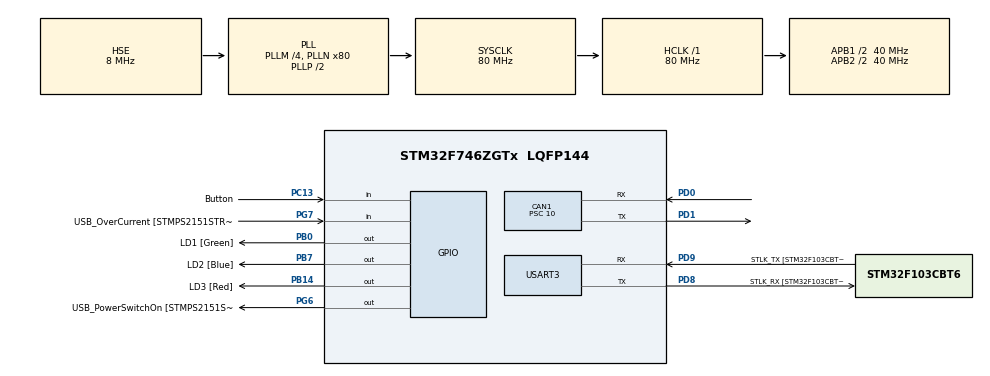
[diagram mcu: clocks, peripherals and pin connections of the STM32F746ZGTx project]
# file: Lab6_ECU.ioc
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CAN1.BS1=CAN_BS1_3TQ
CAN1.BS2=CAN_BS2_4TQ
CAN1.CalculateBaudRate=500000
CAN1.CalculateTimeBit=2000
CAN1.CalculateTimeQuantum=250.0
CAN1.Prescaler=10
CAN1.SJW=CAN_SJW_2TQ
Mcu.Family=STM32F7
Mcu.Name=STM32F746ZGTx
Mcu.Package=LQFP144
NVIC.CAN1_RX0_IRQn=true\:0\:0\:false\:false\:true\:true\:true\:true
NVIC.PriorityGroup=NVIC_PRIORITYGROUP_4
NVIC.TIM2_IRQn=true\:0\:0\:false\:false\:true\:true\:true\:true
PA13.GPIO_Label=TMS
PA13.Mode=Serial_Wire
PA13.Signal=SYS_JTMS-SWDIO
PA14.GPIO_Label=TCK
PA14.Mode=Serial_Wire
PA14.Signal=SYS_JTCK-SWCLK
PB0.GPIO_Label=LD1 [Green]
PB0.Signal=GPIO_Output
PB14.GPIO_Label=LD3 [Red]
PB14.Signal=GPIO_Output
PB3.GPIO_Label=SW0
PB3.Signal=SYS_JTDO-SWO
PB7.GPIO_Label=LD2 [Blue]
PB7.Signal=GPIO_Output
PC13.GPIO_Label=Button
PC13.GPIO_PuPd=GPIO_NOPULL
PC13.Signal=GPIO_Input
PC14/OSC32_IN.Mode=LSE-External-Oscillator
PC14/OSC32_IN.Signal=RCC_OSC32_IN
PC15/OSC32_OUT.Mode=LSE-External-Oscillator
PC15/OSC32_OUT.Signal=RCC_OSC32_OUT
PD0.Mode=CAN_Activate
PD0.Signal=CAN1_RX
PD1.Mode=CAN_Activate
PD1.Signal=CAN1_TX
PD8.GPIO_Label=STLK_RX [STM32F103CBT6_PA3]
PD8.GPIO_PuPd=GPIO_PULLUP
PD8.Mode=Asynchronous
PD8.Signal=USART3_TX
PD9.GPIO_Label=STLK_TX [STM32F103CBT6_PA2]
PD9.GPIO_PuPd=GPIO_PULLUP
PD9.Mode=Asynchronous
PD9.Signal=USART3_RX
PG6.GPIO_Label=USB_PowerSwitchOn [STMPS2151STR_EN]
PG6.Signal=GPIO_Output
PG7.GPIO_Label=USB_OverCurrent [STMPS2151STR_FAULT]
PG7.Signal=GPIO_Input
PH0/OSC_IN.GPIO_Label=MCO [STM32F103CBT6_PA8]
PH0/OSC_IN.Mode=HSE-External-Clock-Source
PH0/OSC_IN.Signal=RCC_OSC_IN
PH1/OSC_OUT.Mode=HSE-External-Clock-Source
PH1/OSC_OUT.Signal=RCC_OSC_OUT
ProjectManager.HeapSize=0x200
ProjectManager.StackSize=0x400
ProjectManager.TargetToolchain=STM32CubeIDE
RCC.48MHZClocksFreq_Value=24000000
RCC.AHBFreq_Value=80000000
RCC.APB1CLKDivider=RCC_HCLK_DIV2
RCC.APB1Freq_Value=40000000
RCC.APB1TimFreq_Value=80000000
RCC.APB2CLKDivider=RCC_HCLK_DIV2
RCC.APB2Freq_Value=40000000
RCC.APB2TimFreq_Value=80000000
RCC.CortexFreq_Value=80000000
RCC.HCLKFreq_Value=80000000
RCC.HSE_VALUE=8000000
RCC.HSI_VALUE=16000000
RCC.PLLM=4
RCC.PLLMUL=RCC_PLL_MUL9
RCC.PLLN=80
RCC.PLLQ=4
RCC.PLLSourceVirtual=RCC_PLLSOURCE_HSE
RCC.PRESCALERUSB=RCC_USBCLKSOURCE_PLL_DIV1_5
RCC.SYSCLKFreq_VALUE=80000000
RCC.SYSCLKSource=RCC_SYSCLKSOURCE_PLLCLK
RCC.SYSCLKSourceVirtual=RCC_SYSCLKSOURCE_PLLCLK
RCC.USBFreq_Value=40000000
RCC.VCOOutputFreq_Value=160000000
TIM2.Period=49999
TIM2.Prescaler=8000
USART3.VirtualMode-Asynchronous=VM_ASYNC
VP_RNG_VS_RNG.Mode=RNG_Activate
VP_TIM2_VS_ClockSourceINT.Mode=Internal
board=NUCLEO-F746ZG

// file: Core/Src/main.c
/* USER CODE BEGIN Header */
/**
 ******************************************************************************
 * @file           : main.c
 * @brief          : Main program body
 ******************************************************************************
 * @attention
 *
 * Copyright (c) 2022 STMicroelectronics.
 * All rights reserved.
 *
 * This software is licensed under terms that can be found in the LICENSE file
 * in the root directory of this software component.
 * If no LICENSE file comes with this software, it is provided AS-IS.
 *
 ******************************************************************************
 */
/* USER CODE END Header */
#include "main.h"

/* USER CODE BEGIN Includes */
#include "stdbool.h"
#include "stdio.h"
/* USER CODE END Includes */

/* USER CODE BEGIN PD */
#ifdef __GNUC__
/* With GCC/RAISONANCE, small printf (option LD Linker->Libraries->Small printf
 set to 'Yes') calls __io_putchar() */
#define PUTCHAR_PROTOTYPE int __io_putchar(int ch)
#else
#define PUTCHAR_PROTOTYPE int fputc(int
#endif /* __GNUC__ */
/* USER CODE END PD */

CAN_HandleTypeDef hcan1;

RNG_HandleTypeDef hrng;

TIM_HandleTypeDef htim2;

UART_HandleTypeDef huart3;

/* USER CODE BEGIN PV */
bool unlocked    = false;
bool new_message = false;

CAN_TxHeaderTypeDef Node_TxHeader;
CAN_RxHeaderTypeDef Node_RxHeader;

uint8_t Node_TxData[8] = {0x55};
uint8_t Node_RxData[8] = {0x55};

uint8_t message[8];

uint32_t Node_TxMailbox;

uint8_t seed;
uint8_t key;
/* USER CODE END PV */

void SystemClock_Config(void);
static void MX_GPIO_Init(void);
static void MX_USART3_UART_Init(void);
static void MX_CAN1_Init(void);
static void MX_RNG_Init(void);
static void MX_TIM2_Init(void);
/* USER CODE BEGIN PFP */
uint8_t GenerateRandomNumber(uint8_t min, uint8_t max);
uint8_t CalculateKey(uint8_t seed);
/* USER CODE END PFP */

/* USER CODE BEGIN 0 */
uint8_t GenerateRandomNumber(uint8_t min, uint8_t max)
{
    uint8_t random_number = 0;
    random_number         = HAL_RNG_GetRandomNumber(&hrng);
    return (random_number % (max - min + 1)) + min;
}
uint8_t CalculateKey(uint8_t seed)
{
    uint8_t key = 0;
    for (int i = 0; i < 8; i++) {
        key += (seed >> i) & 1;
    }
    return key;
}
void PrepareMessage()
{
    for (int i = 0; i < 8; i++) {
        Node_TxData[i] = 0x55;
    }
}
/* Interrupt */
void HAL_CAN_RxFifo0MsgPendingCallback(CAN_HandleTypeDef *hcan)
{
    // HAL_GPIO_TogglePin(LD1_GPIO_Port, LD1_Pin);
    HAL_CAN_GetRxMessage(hcan, CAN_RX_FIFO0, &Node_RxHeader, Node_RxData);
    uint8_t data_length = Node_RxData[0] & 0x0F;
    for (int i = 0; i < data_length; i++) {
        message[i] = Node_RxData[i + 1];
    }
    new_message = true;
    if (unlocked) { // extend the time if receive a message
        __HAL_TIM_SET_COUNTER(&htim2, 0);
    }
}
extern void HAL_TIM_PeriodElapsedCallback(TIM_HandleTypeDef *htim) // automatic locking after a while
{
    unlocked = false;
    // HAL_GPIO_WritePin(LD1_GPIO_Port, LD1_Pin, GPIO_PIN_RESET);
}
/* USER CODE END 0 */

int main(void)
{
  /* USER CODE BEGIN 1 */
    Node_TxHeader.IDE   = CAN_ID_STD;
    Node_TxHeader.StdId = 0x712;
    Node_TxHeader.RTR   = CAN_RTR_DATA;
    Node_TxHeader.DLC   = 8;
  /* USER CODE END 1 */

  /* MCU Configuration--------------------------------------------------------*/

  /* Reset of all peripherals, Initializes the Flash interface and the Systick. */
  HAL_Init();

  /* Configure the system clock */
  SystemClock_Config();

  /* Initialize all configured peripherals */
  MX_GPIO_Init();
  MX_USART3_UART_Init();
  MX_CAN1_Init();
  MX_RNG_Init();
  MX_TIM2_Init();
  /* USER CODE BEGIN 2 */
    HAL_CAN_ActivateNotification(&hcan1, CAN_IT_RX_FIFO0_MSG_PENDING);
  /* USER CODE END 2 */

  /* Infinite loop */
    while (1) {

    /* USER CODE BEGIN 3 */
        while (!new_message) {
            HAL_Delay(1);
            if (new_message) {
                break;
            }
        }
        if (message[0] == 0x27) {
            if (message[1] % 2 == 1) {               // check if SBF Seed or Key
                seed = GenerateRandomNumber(0, 255); // generate random seed
                PrepareMessage();
                Node_TxData[0] = 0x03;
                Node_TxData[1] = 0x27 + 0x40;
                Node_TxData[2] = 0x01;
                Node_TxData[3] = seed;
                new_message    = false;
                HAL_CAN_AddTxMessage(&hcan1, &Node_TxHeader, Node_TxData, &Node_TxMailbox); // send seed
                key = CalculateKey(seed);
                printf("Seed: %d, Key: %d\r", seed, key);
                new_message = false;
            } else if (message[1] % 2 == 0) { // check if SBF Seed or Key
                if (message[2] == key) {      // check key
                    PrepareMessage();
                    Node_TxData[0] = 0x02;
                    Node_TxData[1] = 0x27 + 0x40;
                    Node_TxData[2] = 0x02;
                    unlocked       = true;
                    __HAL_TIM_SET_COUNTER(&htim2, 0); // start counting
                    printf("Unlocked\r");
                    HAL_GPIO_TogglePin(LD1_GPIO_Port, LD1_Pin);
                    HAL_CAN_AddTxMessage(&hcan1, &Node_TxHeader, Node_TxData, &Node_TxMailbox);
                    new_message = false;
                }
            }
        }
        if (unlocked) {
            // accept any request
        } else {
            // reject any request if not unlocked
        }
    }
  /* USER CODE END 3 */
}

void SystemClock_Config(void)
{
  RCC_OscInitTypeDef RCC_OscInitStruct = {0};
  RCC_ClkInitTypeDef RCC_ClkInitStruct = {0};

  /** Configure LSE Drive Capability
  */
  HAL_PWR_EnableBkUpAccess();

  /** Configure the main internal regulator output voltage
  */
  __HAL_RCC_PWR_CLK_ENABLE();
  __HAL_PWR_VOLTAGESCALING_CONFIG(PWR_REGULATOR_VOLTAGE_SCALE3);

  /** Initializes the RCC Oscillators according to the specified parameters
  * in the RCC_OscInitTypeDef structure.
  */
  RCC_OscInitStruct.OscillatorType = RCC_OSCILLATORTYPE_HSE;
  RCC_OscInitStruct.HSEState = RCC_HSE_BYPASS;
  RCC_OscInitStruct.PLL.PLLState = RCC_PLL_ON;
  RCC_OscInitStruct.PLL.PLLSource = RCC_PLLSOURCE_HSE;
  RCC_OscInitStruct.PLL.PLLM = 4;
  RCC_OscInitStruct.PLL.PLLN = 80;
  RCC_OscInitStruct.PLL.PLLP = RCC_PLLP_DIV2;
  RCC_OscInitStruct.PLL.PLLQ = 4;
  if (HAL_RCC_OscConfig(&RCC_OscInitStruct) != HAL_OK)
  {
    Error_Handler();
  }

  /** Initializes the CPU, AHB and APB buses clocks
  */
  RCC_ClkInitStruct.ClockType = RCC_CLOCKTYPE_HCLK|RCC_CLOCKTYPE_SYSCLK
                              |RCC_CLOCKTYPE_PCLK1|RCC_CLOCKTYPE_PCLK2;
  RCC_ClkInitStruct.SYSCLKSource = RCC_SYSCLKSOURCE_PLLCLK;
  RCC_ClkInitStruct.AHBCLKDivider = RCC_SYSCLK_DIV1;
  RCC_ClkInitStruct.APB1CLKDivider = RCC_HCLK_DIV2;
  RCC_ClkInitStruct.APB2CLKDivider = RCC_HCLK_DIV2;

  if (HAL_RCC_ClockConfig(&RCC_ClkInitStruct, FLASH_LATENCY_2) != HAL_OK)
  {
    Error_Handler();
  }
}

static void MX_CAN1_Init(void)
{

  hcan1.Instance = CAN1;
  hcan1.Init.Prescaler = 10;
  hcan1.Init.Mode = CAN_MODE_NORMAL;
  hcan1.Init.SyncJumpWidth = CAN_SJW_2TQ;
  hcan1.Init.TimeSeg1 = CAN_BS1_3TQ;
  hcan1.Init.TimeSeg2 = CAN_BS2_4TQ;
  hcan1.Init.TimeTriggeredMode = DISABLE;
  hcan1.Init.AutoBusOff = DISABLE;
  hcan1.Init.AutoWakeUp = DISABLE;
  hcan1.Init.AutoRetransmission = DISABLE;
  hcan1.Init.ReceiveFifoLocked = DISABLE;
  hcan1.Init.TransmitFifoPriority = DISABLE;
  if (HAL_CAN_Init(&hcan1) != HAL_OK)
  {
    Error_Handler();
  }
  /* USER CODE BEGIN CAN1_Init 2 */
    CAN_FilterTypeDef canfilterconfig;
    canfilterconfig.FilterActivation     = CAN_FILTER_ENABLE;
    canfilterconfig.FilterBank           = 18;
    canfilterconfig.FilterFIFOAssignment = CAN_FILTER_FIFO0;
    canfilterconfig.FilterIdHigh         = 0x7A2 << 5;
    canfilterconfig.FilterIdLow          = 0;
    canfilterconfig.FilterMaskIdHigh     = 0x7A2 << 5;
    canfilterconfig.FilterMaskIdLow      = 0x0000;
    canfilterconfig.FilterMode           = CAN_FILTERMODE_IDMASK;
    canfilterconfig.FilterScale          = CAN_FILTERSCALE_32BIT;
    canfilterconfig.SlaveStartFilterBank = 20;

    HAL_CAN_ConfigFilter(&hcan1, &canfilterconfig);
    HAL_CAN_Start(&hcan1);
  /* USER CODE END CAN1_Init 2 */

}

static void MX_RNG_Init(void)
{

  hrng.Instance = RNG;
  if (HAL_RNG_Init(&hrng) != HAL_OK)
  {
    Error_Handler();
  }

}

static void MX_TIM2_Init(void)
{

  TIM_ClockConfigTypeDef sClockSourceConfig = {0};
  TIM_MasterConfigTypeDef sMasterConfig = {0};

  htim2.Instance = TIM2;
  htim2.Init.Prescaler = 8000;
  htim2.Init.CounterMode = TIM_COUNTERMODE_UP;
  htim2.Init.Period = 49999;
  htim2.Init.ClockDivision = TIM_CLOCKDIVISION_DIV1;
  htim2.Init.AutoReloadPreload = TIM_AUTORELOAD_PRELOAD_DISABLE;
  if (HAL_TIM_Base_Init(&htim2) != HAL_OK)
  {
    Error_Handler();
  }
  sClockSourceConfig.ClockSource = TIM_CLOCKSOURCE_INTERNAL;
  if (HAL_TIM_ConfigClockSource(&htim2, &sClockSourceConfig) != HAL_OK)
  {
    Error_Handler();
  }
  sMasterConfig.MasterOutputTrigger = TIM_TRGO_RESET;
  sMasterConfig.MasterSlaveMode = TIM_MASTERSLAVEMODE_DISABLE;
  if (HAL_TIMEx_MasterConfigSynchronization(&htim2, &sMasterConfig) != HAL_OK)
  {
    Error_Handler();
  }

}

static void MX_USART3_UART_Init(void)
{

  huart3.Instance = USART3;
  huart3.Init.BaudRate = 115200;
  huart3.Init.WordLength = UART_WORDLENGTH_8B;
  huart3.Init.StopBits = UART_STOPBITS_1;
  huart3.Init.Parity = UART_PARITY_NONE;
  huart3.Init.Mode = UART_MODE_TX_RX;
  huart3.Init.HwFlowCtl = UART_HWCONTROL_NONE;
  huart3.Init.OverSampling = UART_OVERSAMPLING_16;
  huart3.Init.OneBitSampling = UART_ONE_BIT_SAMPLE_DISABLE;
  huart3.AdvancedInit.AdvFeatureInit = UART_ADVFEATURE_NO_INIT;
  if (HAL_UART_Init(&huart3) != HAL_OK)
  {
    Error_Handler();
  }

}

static void MX_GPIO_Init(void)
{
  GPIO_InitTypeDef GPIO_InitStruct = {0};

  /* GPIO Ports Clock Enable */
  __HAL_RCC_GPIOC_CLK_ENABLE();
  __HAL_RCC_GPIOH_CLK_ENABLE();
  __HAL_RCC_GPIOB_CLK_ENABLE();
  __HAL_RCC_GPIOD_CLK_ENABLE();
  __HAL_RCC_GPIOG_CLK_ENABLE();
  __HAL_RCC_GPIOA_CLK_ENABLE();

  /*Configure GPIO pin Output Level */
  HAL_GPIO_WritePin(GPIOB, LD1_Pin|LD3_Pin|LD2_Pin, GPIO_PIN_RESET);

  /*Configure GPIO pin Output Level */
  HAL_GPIO_WritePin(USB_PowerSwitchOn_GPIO_Port, USB_PowerSwitchOn_Pin, GPIO_PIN_RESET);

  /*Configure GPIO pin : Button_Pin */
  GPIO_InitStruct.Pin = Button_Pin;
  GPIO_InitStruct.Mode = GPIO_MODE_INPUT;
  GPIO_InitStruct.Pull = GPIO_NOPULL;
  HAL_GPIO_Init(Button_GPIO_Port, &GPIO_InitStruct);

  /*Configure GPIO pins : LD1_Pin LD3_Pin LD2_Pin */
  GPIO_InitStruct.Pin = LD1_Pin|LD3_Pin|LD2_Pin;
  GPIO_InitStruct.Mode = GPIO_MODE_OUTPUT_PP;
  GPIO_InitStruct.Pull = GPIO_NOPULL;
  GPIO_InitStruct.Speed = GPIO_SPEED_FREQ_LOW;
  HAL_GPIO_Init(GPIOB, &GPIO_InitStruct);

  /*Configure GPIO pin : USB_PowerSwitchOn_Pin */
  GPIO_InitStruct.Pin = USB_PowerSwitchOn_Pin;
  GPIO_InitStruct.Mode = GPIO_MODE_OUTPUT_PP;
  GPIO_InitStruct.Pull = GPIO_NOPULL;
  GPIO_InitStruct.Speed = GPIO_SPEED_FREQ_LOW;
  HAL_GPIO_Init(USB_PowerSwitchOn_GPIO_Port, &GPIO_InitStruct);

  /*Configure GPIO pin : USB_OverCurrent_Pin */
  GPIO_InitStruct.Pin = USB_OverCurrent_Pin;
  GPIO_InitStruct.Mode = GPIO_MODE_INPUT;
  GPIO_InitStruct.Pull = GPIO_NOPULL;
  HAL_GPIO_Init(USB_OverCurrent_GPIO_Port, &GPIO_InitStruct);

}

/* USER CODE BEGIN 4 */
PUTCHAR_PROTOTYPE
{
    HAL_UART_Transmit(&huart3, (uint8_t *)&ch, sizeof(ch) - 1, HAL_MAX_DELAY);
    return ch;
}
/* USER CODE END 4 */

void Error_Handler(void)
{
    __disable_irq();
    while (1) {
    }
}
